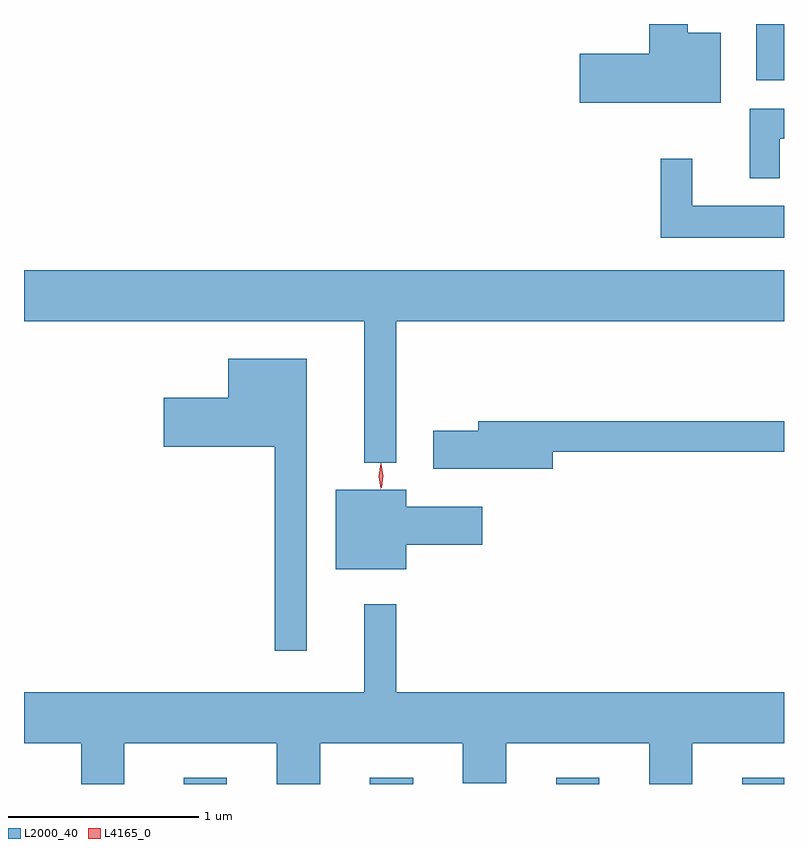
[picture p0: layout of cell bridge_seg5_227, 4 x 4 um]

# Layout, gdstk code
import gdstk
lib = gdstk.Library(unit=1e-6, precision=1e-09)
def R(c, l, rs):  # rectangles x0, y0, x1, y1
    for r in rs: c.add(gdstk.rectangle(r[:2], r[2:], *l))
def A(c, l, x, y, w, h, nx, ny, dx, dy):  # array of equal rectangles
    R(c, l, [(x+i*dx, y+j*dy, x+i*dx+w, y+j*dy+h) for i in range(nx) for j in range(ny)])
def P(c, l, *ps):  # polygons
    for p in ps: c.add(gdstk.Polygon(p, *l))
L2000_40 = (2000, 40)
L4165_0 = (4165, 0)

bridge_seg5_227 = lib.new_cell('bridge_seg5_227')
A(bridge_seg5_227, L2000_40, 1227.381, 1454.361, 0.228, 0.033, 3, 1, 0.98, 0)
R(bridge_seg5_227, L2000_40, [(1230.321,1454.361,1230.541,1454.394), (1230.396,1458.066,1230.541,1458.361)])
P(bridge_seg5_227, L2000_40, [(1230.209,1458.314),(1230.034,1458.314),(1230.034,1458.359),(1229.831,1458.359),(1229.831,1458.204),(1229.466,1458.204),(1229.466,1457.946),(1230.209,1457.946)],
  [(1230.519,1457.756),(1230.541,1457.756),(1230.541,1457.914),(1230.361,1457.914),(1230.361,1457.548),(1230.519,1457.548)],
  [(1230.541,1457.404),(1230.059,1457.404),(1230.059,1457.653),(1229.891,1457.653),(1229.891,1457.236),(1230.541,1457.236)],
  [(1228.499,1456.796),(1230.541,1456.796),(1230.541,1457.064),(1226.541,1457.064),(1226.541,1456.796),(1228.331,1456.796),(1228.331,1456.053),(1228.499,1456.053)],
  [(1228.029,1456.599),(1227.616,1456.599),(1227.616,1456.394),(1227.276,1456.394),(1227.276,1456.136),(1227.861,1456.136),(1227.861,1455.063),(1228.029,1455.063)],
  [(1229.324,1456.111),(1230.541,1456.111),(1230.541,1456.269),(1228.931,1456.269),(1228.931,1456.219),(1228.696,1456.219),(1228.696,1456.021),(1229.324,1456.021)],
  [(1228.554,1455.621),(1228.954,1455.621),(1228.954,1455.819),(1228.554,1455.819),(1228.554,1455.909),(1228.181,1455.909),(1228.181,1455.491),(1228.554,1455.491)],
  [(1227.069,1454.576),(1227.871,1454.576),(1227.871,1454.361),(1228.099,1454.361),(1228.099,1454.576),(1228.851,1454.576),(1228.851,1454.366),(1229.079,1454.366),(1229.079,1454.576),(1229.831,1454.576),(1229.831,1454.361),(1230.059,1454.361),(1230.059,1454.576),(1230.541,1454.576),(1230.541,1454.844),(1228.499,1454.844),(1228.499,1455.308),(1228.331,1455.308),(1228.331,1454.844),(1226.541,1454.844),(1226.541,1454.576),(1226.841,1454.576),(1226.841,1454.361),(1227.069,1454.361)])
P(bridge_seg5_227, L4165_0, [(1228.418,1455.914),(1228.418,1455.915),(1228.408,1455.982),(1228.418,1456.05),(1228.418,1456.05),(1228.419,1456.05),(1228.428,1455.982),(1228.419,1455.915)],
  [(1228.423,1455.92),(1228.422,1455.921),(1228.412,1455.984),(1228.421,1456.046),(1228.421,1456.047),(1228.422,1456.046),(1228.432,1455.984),(1228.424,1455.921)])

lib.write_gds('bridge_seg5_227.gds')
